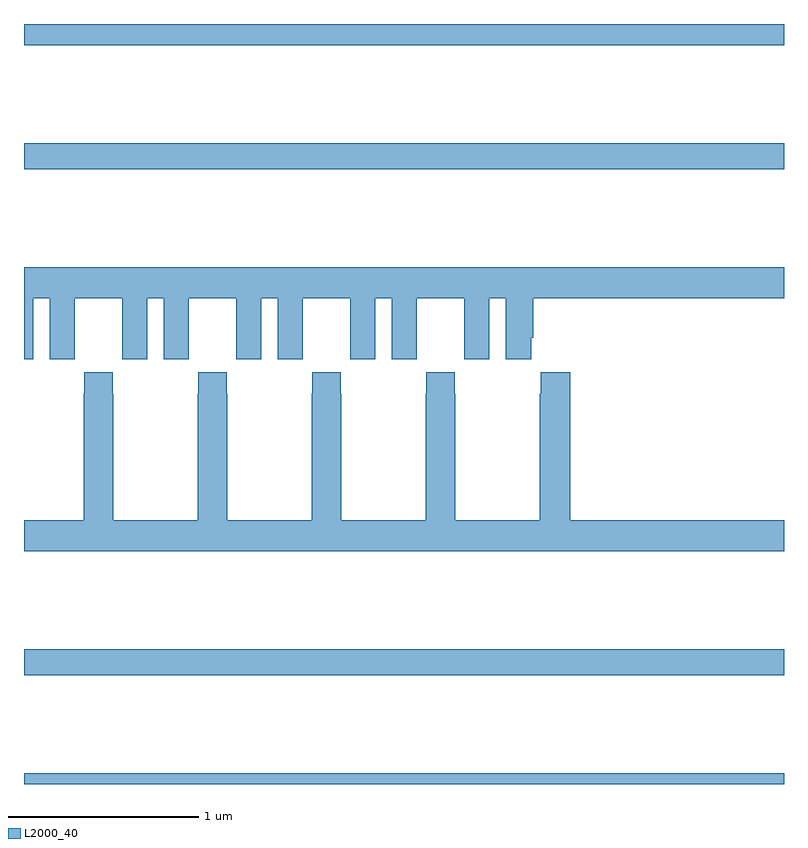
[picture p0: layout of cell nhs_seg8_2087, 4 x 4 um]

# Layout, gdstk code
import gdstk
lib = gdstk.Library(unit=1e-6, precision=1e-09)
def R(c, l, rs):  # rectangles x0, y0, x1, y1
    for r in rs: c.add(gdstk.rectangle(r[:2], r[2:], *l))
def P(c, l, *ps):  # polygons
    for p in ps: c.add(gdstk.Polygon(p, *l))
L2000_40 = (2000, 40)

nhs_seg8_2087 = lib.new_cell('nhs_seg8_2087')
R(nhs_seg8_2087, L2000_40, [(241,1157.9,245,1157.956), (241,1158.472,245,1158.608), (241,1161.136,245,1161.272), (241,1161.788,245,1161.9)])
P(nhs_seg8_2087, L2000_40, [(241.048,1160.456),(241.136,1160.456),(241.136,1160.136),(241.266,1160.136),(241.266,1160.248),(241.267,1160.248),(241.267,1160.456),(241.517,1160.456),(241.517,1160.248),(241.518,1160.248),(241.518,1160.136),(241.648,1160.136),(241.648,1160.456),(241.736,1160.456),(241.736,1160.136),(241.866,1160.136),(241.866,1160.248),(241.867,1160.248),(241.867,1160.456),(242.117,1160.456),(242.117,1160.248),(242.118,1160.248),(242.118,1160.136),(242.248,1160.136),(242.248,1160.456),(242.336,1160.456),(242.336,1160.136),(242.466,1160.136),(242.466,1160.248),(242.467,1160.248),(242.467,1160.456),(242.717,1160.456),(242.717,1160.248),(242.718,1160.248),(242.718,1160.136),(242.848,1160.136),(242.848,1160.456),(242.936,1160.456),(242.936,1160.136),(243.066,1160.136),(243.066,1160.248),(243.067,1160.248),(243.067,1160.456),(243.317,1160.456),(243.317,1160.248),(243.318,1160.248),(243.318,1160.136),(243.448,1160.136),(243.448,1160.456),(243.536,1160.456),(243.536,1160.136),(243.67,1160.136),(243.67,1160.248),(243.68,1160.248),(243.68,1160.456),(245,1160.456),(245,1160.62),(241,1160.62),(241,1160.136),(241.048,1160.136)],
  [(245,1159.288),(243.875,1159.288),(243.875,1160.068),(243.721,1160.068),(243.721,1159.955),(243.715,1159.955),(243.715,1159.288),(243.27,1159.288),(243.27,1159.955),(243.267,1159.955),(243.267,1160.068),(243.117,1160.068),(243.117,1159.955),(243.115,1159.955),(243.115,1159.288),(242.67,1159.288),(242.67,1159.955),(242.667,1159.955),(242.667,1160.068),(242.517,1160.068),(242.517,1159.955),(242.515,1159.955),(242.515,1159.288),(242.07,1159.288),(242.07,1159.955),(242.067,1159.955),(242.067,1160.068),(241.917,1160.068),(241.917,1159.955),(241.915,1159.955),(241.915,1159.288),(241.47,1159.288),(241.47,1159.955),(241.467,1159.955),(241.467,1160.068),(241.317,1160.068),(241.317,1159.955),(241.315,1159.955),(241.315,1159.288),(241,1159.288),(241,1159.124),(245,1159.124)])

lib.write_gds('nhs_seg8_2087.gds')
